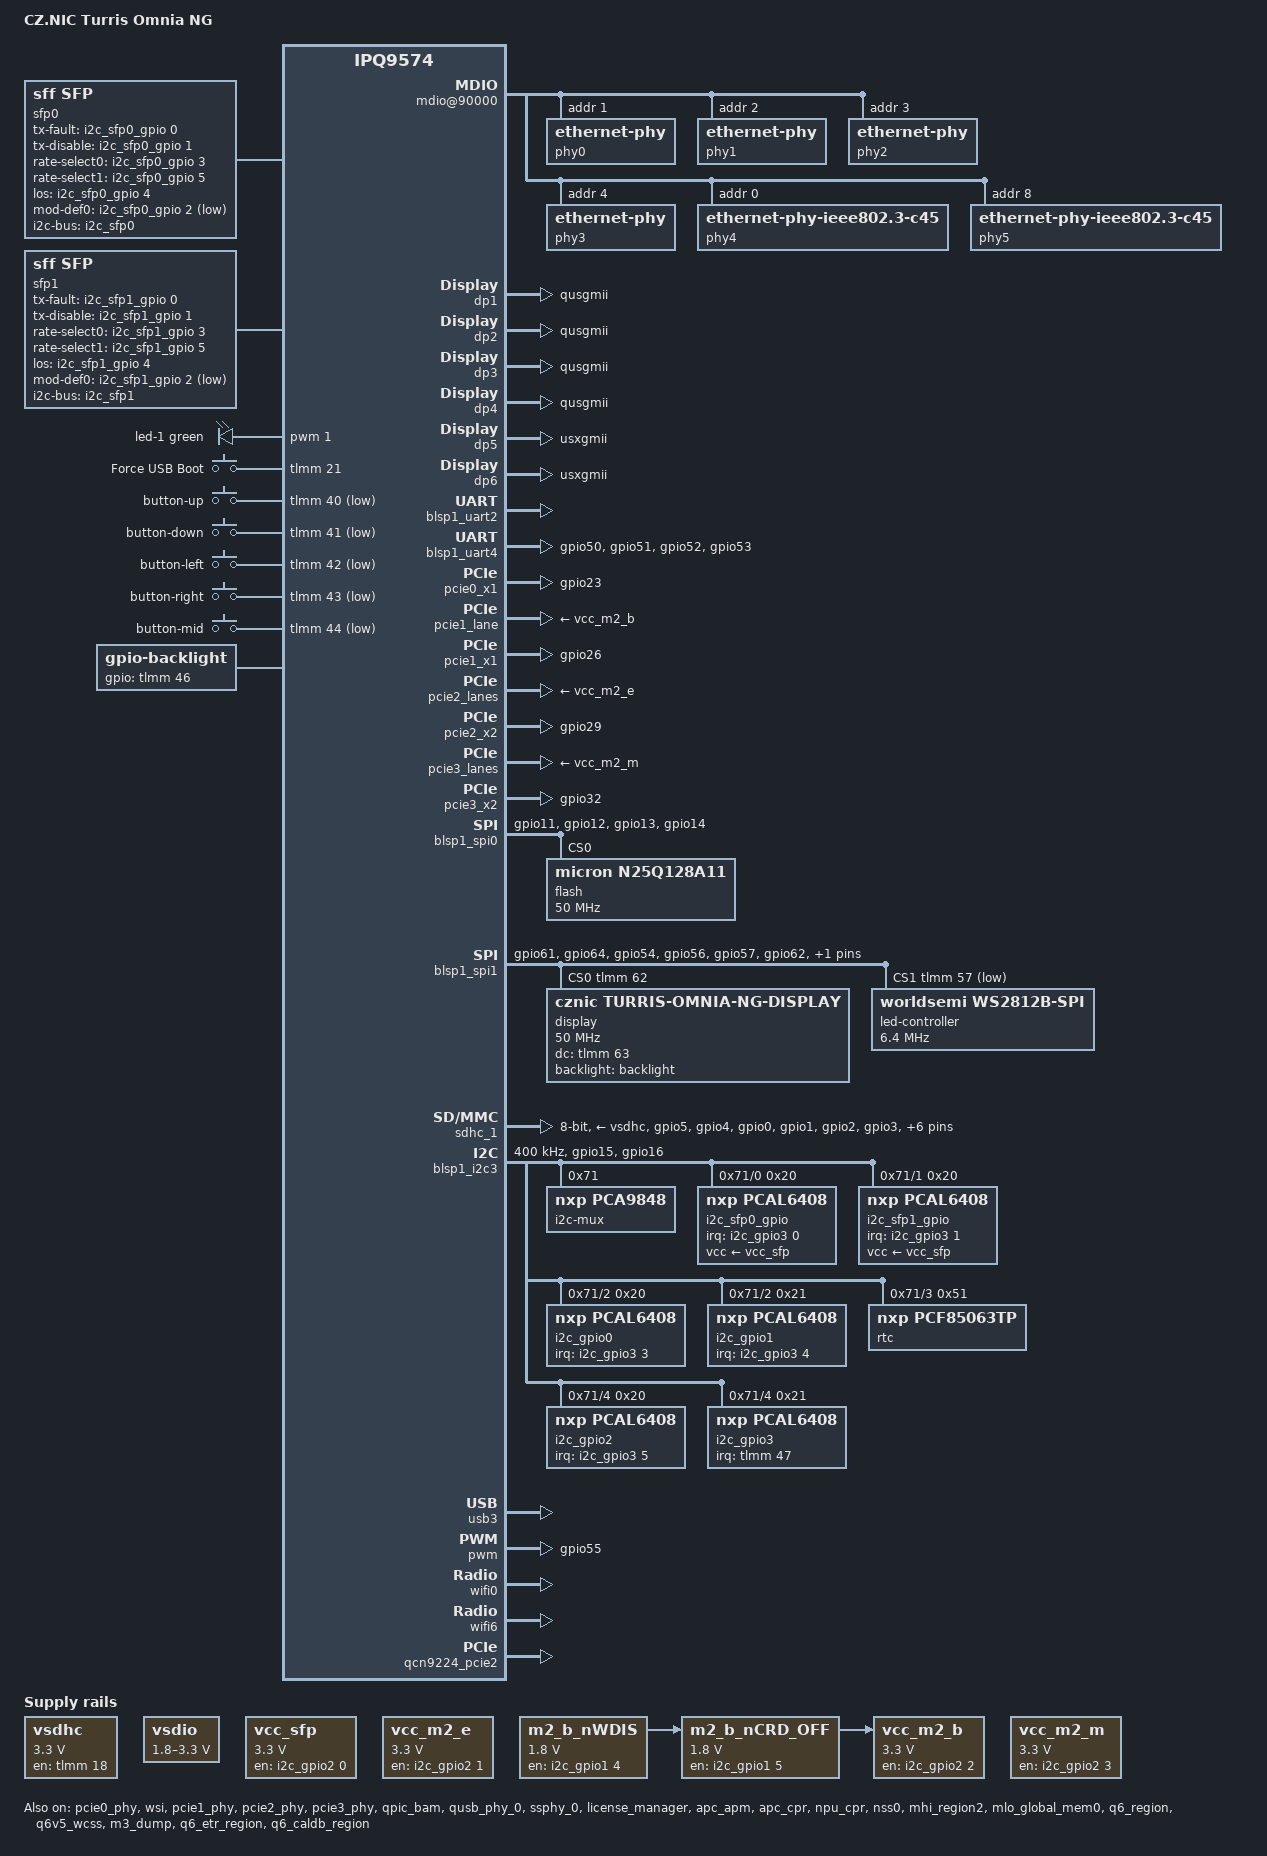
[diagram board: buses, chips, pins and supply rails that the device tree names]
// SPDX-License-Identifier: (GPL-2.0+ OR BSD-3-Clause)
/*
 * CZ.NIC Turris Omnig NG board device tree source
 *
 * Copyright (c) 2020-2021 The Linux Foundation. All rights reserved.
 * Copyright (c) 2021-2024 Qualcomm Innovation Center, Inc. All rights reserved.
 */

/dts-v1/;

#include <dt-bindings/gpio/gpio.h>
#include <dt-bindings/input/input.h>
#include <dt-bindings/leds/common.h>
#include "ipq9574.dtsi"
#include "ipq9574-qcn9224-default-memory.dtsi"

#define BROKEN_RPM 0
#define BROKEN_QCA8085 0
#define BROKEN_SFP 0
#define __MHI_BUS_RESERVED_DMA_POOL__

/ {
	model = "CZ.NIC Turris Omnia NG";
	compatible = "cznic,ipq9574-turris-omnia-ng", "qcom,ipq9574";

	aliases {
		serial0 = &blsp1_uart2;
		serial1 = &blsp1_uart4;
		serial2 = &blsp1_uart3;
#if !BROKEN_QCA8085
		ethernet0 = "/soc/dp1";
		ethernet1 = "/soc/dp2";
		ethernet2 = "/soc/dp3";
		ethernet3 = "/soc/dp4";
#endif
#if !BROKEN_SFP
		ethernet4 = "/soc/dp5";
		ethernet5 = "/soc/dp6";
#endif
	};

	chosen {
		stdout-path = "serial0:115200n8";
	};

	vsdhc: vsdhc-regulator {
		compatible = "regulator-fixed";
		regulator-name = "vsdhc";
		regulator-min-microvolt = <3300000>;
		regulator-max-microvolt = <3300000>;
		gpio = <&tlmm 18 GPIO_ACTIVE_HIGH>;
		enable-active-high;
	};

	vsdio: vsdc-regulator {
		compatible = "regulator-gpio";
		regulator-name = "vsdio";
		regulator-min-microvolt = <1800000>;
		regulator-max-microvolt = <3300000>;
		regulator-boot-on;

		gpios = <&tlmm 19 GPIO_ACTIVE_HIGH>;
		gpios-states = <0>;
		states = <1800000 0x1>, <3300000 0x0>;
		enable-active-high;
	};

	vcc_sfp: regulator-3v3-sfp {
		compatible = "regulator-fixed";
		regulator-name = "3V3-sfp-supply";
		regulator-min-microvolt = <3300000>;
		regulator-max-microvolt = <3300000>;
		gpios = <&i2c_gpio2 0 GPIO_ACTIVE_HIGH>;
		enable-active-high;
		startup-delay-us = <50000>;
	};

	vcc_m2_e: regulator-3v3-m2-e {
		compatible = "regulator-fixed";
		regulator-name = "3V3-m2-e-supply";
		regulator-min-microvolt = <3300000>;
		regulator-max-microvolt = <3300000>;
		gpios = <&i2c_gpio2 1 GPIO_ACTIVE_HIGH>;
		enable-active-high;
		regulator-always-on;
		startup-delay-us = <50000>;
	};

		m2_b_nWDIS: fake-regulator-m2-b-nWDIS {
		        compatible = "regulator-fixed";
		        regulator-name = "fake-regulator-m2-b-nWDIS";
		        regulator-min-microvolt = <1800000>;
		        regulator-max-microvolt = <1800000>;
		        gpios = <&i2c_gpio1 4 GPIO_ACTIVE_HIGH>;
		        enable-active-high;
		        regulator-always-on;
		        startup-delay-us = <50000>;
		};

		m2_b_nCRD_OFF: fake-regulator-m2-b-nCRD-OFF {
		        compatible = "regulator-fixed";
		        regulator-name = "fake-regulator-m2-b-nCRD-OFF";
		        regulator-min-microvolt = <1800000>;
		        regulator-max-microvolt = <1800000>;
		        gpios = <&i2c_gpio1 5 GPIO_ACTIVE_HIGH>;
		        enable-active-high;
		        regulator-always-on;
		        startup-delay-us = <50000>;

		        /* hack for M2-B config pins */
		        vin-supply = <&m2_b_nWDIS>;
		};

	vcc_m2_b: regulator-3v3-m2-b {
		compatible = "regulator-fixed";
		regulator-name = "3V3-m2-b-supply";
		regulator-min-microvolt = <3300000>;
		regulator-max-microvolt = <3300000>;
		gpios = <&i2c_gpio2 2 GPIO_ACTIVE_HIGH>;
		enable-active-high;
		regulator-always-on;
		startup-delay-us = <50000>;

		/* hack for M2-B config pins */
		vin-supply = <&m2_b_nCRD_OFF>;
	};

	vcc_m2_m: regulator-3v3-m2-m {
		compatible = "regulator-fixed";
		regulator-name = "3V3-m2-m-supply";
		regulator-min-microvolt = <3300000>;
		regulator-max-microvolt = <3300000>;
		gpios = <&i2c_gpio2 3 GPIO_ACTIVE_HIGH>;
		enable-active-high;
		regulator-always-on;
		startup-delay-us = <50000>;
	};

#if !BROKEN_SFP
	sfp0: sfp0 {
		compatible = "sff,sfp";
		i2c-bus = <&i2c_sfp0>;
		tx-fault-gpios = <&i2c_sfp0_gpio 0 GPIO_ACTIVE_HIGH>;
		tx-disable-gpios = <&i2c_sfp0_gpio 1 GPIO_ACTIVE_HIGH>;
		rate-select0-gpios = <&i2c_sfp0_gpio 3 GPIO_ACTIVE_HIGH>;
		rate-select1-gpios = <&i2c_sfp0_gpio 5 GPIO_ACTIVE_HIGH>;
		los-gpios = <&i2c_sfp0_gpio 4 GPIO_ACTIVE_HIGH>;
		mod-def0-gpios = <&i2c_sfp0_gpio 2 GPIO_ACTIVE_LOW>;
		maximum-power-milliwatt = <3000>;
		status = "okay";
	};

	sfp1: sfp1 {
		compatible = "sff,sfp";
		i2c-bus = <&i2c_sfp1>;
		tx-fault-gpios = <&i2c_sfp1_gpio 0 GPIO_ACTIVE_HIGH>;
		tx-disable-gpios = <&i2c_sfp1_gpio 1 GPIO_ACTIVE_HIGH>;
		rate-select0-gpios = <&i2c_sfp1_gpio 3 GPIO_ACTIVE_HIGH>;
		rate-select1-gpios = <&i2c_sfp1_gpio 5 GPIO_ACTIVE_HIGH>;
		los-gpios = <&i2c_sfp1_gpio 4 GPIO_ACTIVE_HIGH>;
		mod-def0-gpios = <&i2c_sfp1_gpio 2 GPIO_ACTIVE_LOW>;
		maximum-power-milliwatt = <3000>;
		status = "okay";
	};
#endif

	soc@0 {
		mdio@90000 {
			pinctrl-0 = <&mdio_pins>;
			pinctrl-names = "default";
#if !BROKEN_QCA8085
			/* gpio60 for manhattan reset */
			phy-reset-gpio = <&tlmm 60 GPIO_ACTIVE_LOW>;
			phyaddr_fixup = <0xC90F018>;
			uniphyaddr_fixup = <0xC90F014>;
			mdio_clk_fixup; /* MDIO clock sequence fix up flag */
#endif
			status = "okay";

#if !BROKEN_QCA8085
			phy0: ethernet-phy@0 {
				reg = <1>;
				fixup;
			};
			phy1: ethernet-phy@1 {
				reg = <2>;
				fixup;
			};
			phy2: ethernet-phy@2 {
				reg = <3>;
				fixup;
			};
			phy3: ethernet-phy@3 {
				reg = <4>;
				fixup;
			};
#endif
#if !BROKEN_SFP
			phy4: ethernet-phy@4 {
				compatible ="ethernet-phy-ieee802.3-c45";
				reg = <0>;
			};
			phy5: ethernet-phy@5 {
				compatible ="ethernet-phy-ieee802.3-c45";
				reg = <8>;
			};
#endif
		};

		ess-instance {
			num_devices = <0x1>;
			ess-switch@3a000000 {
				switch_cpu_bmp = <0x1>;  /* cpu port bitmap */
#if !BROKEN_SFP && !BROKEN_QCA8085
				switch_lan_bmp = <0x3e>; /* lan port bitmap */
				switch_wan_bmp = <0x40>; /* wan port bitmap */
#elif !BROKEN_QCA8085
				switch_lan_bmp = <0x1c>; /* lan port bitmap */
				switch_wan_bmp = <0x02>; /* wan port bitmap */
#else
				switch_lan_bmp = <0x20>; /* lan port bitmap */
				switch_wan_bmp = <0x40>; /* wan port bitmap */
#endif
				switch_mac_mode = <0x15>; /* mac mode for uniphy instance0*/
				switch_mac_mode1 = <0xe>; /* mac mode for uniphy instance1*/
				switch_mac_mode2 = <0xe>; /* mac mode for uniphy instance2*/

				qcom,port_phyinfo {
#if !BROKEN_QCA8085
					port@0 {
						port_id = <1>;
						phy_address = <1>;
					};
					port@1 {
						port_id = <2>;
						phy_address = <2>;
					};
					port@2 {
						port_id = <3>;
						phy_address = <3>;
					};
					port@3 {
						port_id = <4>;
						phy_address = <4>;
					};
#endif
#if !BROKEN_SFP
					port@4 {
						port_id = <5>;
						media-type = "sfp";
						phy_address = <30>;
						sfp = <&sfp0>;
					};
					port@5 {
						port_id = <6>;
						media-type = "sfp";
						phy_address = <31>;
						sfp = <&sfp1>;
					};
#endif
				};

#if !BROKEN_QCA8085
				led_source@0 {
					source = <0>;
					mode = "normal";
					speed = "all";
					blink_en = "enable";
					active = "high";
				};
				led_source@1 {
					source = <1>;
					mode = "normal";
					speed = "1000M";
					blink_en = "disable";
					active = "high";
				};
				led_source@3 {
					source = <3>;
					mode = "normal";
					speed = "all";
					blink_en = "enable";
					active = "high";
				};
				led_source@4 {
					source = <4>;
					mode = "normal";
					speed = "1000M";
					blink_en = "disable";
					active = "high";
				};
				led_source@6 {
					source = <6>;
					mode = "normal";
					speed = "all";
					blink_en = "enable";
					active = "high";
				};
				led_source@7 {
					source = <7>;
					mode = "normal";
					speed = "1000M";
					blink_en = "disable";
					active = "high";
				};
				led_source@9 {
					source = <9>;
					mode = "normal";
					speed = "all";
					blink_en = "enable";
					active = "high";
				};
				led_source@a {
					source = <0xa>;
					mode = "normal";
					speed = "1000M";
					blink_en = "disable";
					active = "high";
				};
#endif
			};
		};

		leds {
			compatible = "pwm-leds";
			status = "okay";

			led-1 {
				color = <LED_COLOR_ID_GREEN>;
				function = LED_FUNCTION_INDICATOR;
				pwms = <&pwm 1 655361>;
				linux,default-trigger = "heartbeat";
				max-brightness = <8191>;
				default-state = "off";
			};
		};

		gpio-key-lights-toggle {
			compatible = "openwrt,gpio-button-hotplug", "gpio-keys";
			pinctrl-0 = <&force_usb_button_pins>;
			pinctrl-names = "default";
			status = "okay";
			button {
				label = "Force USB Boot";
				/* 
				 * Default behaviour in vendor OS is to control
				 * LED dimming, so use OpenWrt lights_toggle code
				 * https://openwrt.org/docs/guide-user/hardware/hardware.button
				 */
				linux,code = <0x021e>;
				gpios = <&tlmm 21 GPIO_ACTIVE_HIGH>;
			};
		};

		gpio-keys {
			compatible = "gpio-keys";
			pinctrl-0 = <&dpad_pins>;
			pinctrl-names = "default";
			status = "okay";

			button-up {
				linux,code = <KEY_UP>;
				gpios = <&tlmm 40 GPIO_ACTIVE_LOW>;
			};

			button-down {
				linux,code = <KEY_DOWN>;
				gpios = <&tlmm 41 GPIO_ACTIVE_LOW>;
			};

			button-left {
				linux,code = <KEY_LEFT>;
				gpios = <&tlmm 42 GPIO_ACTIVE_LOW>;
			};

			button-right {
				linux,code = <KEY_RIGHT>;
				gpios = <&tlmm 43 GPIO_ACTIVE_LOW>;
			};

			button-mid {
				linux,code = <KEY_ENTER>;
				gpios = <&tlmm 44 GPIO_ACTIVE_LOW>;
			};
		};

		backlight: backlight {
			compatible = "gpio-backlight";
			pinctrl-0 = <&backlight_pins>;
			pinctrl-names = "default";
			gpios = <&tlmm 46 GPIO_ACTIVE_HIGH>;
		};

#if !BROKEN_QCA8085
		dp1 {
			device_type = "network";
			compatible = "qcom,nss-dp";
			qcom,id = <1>;
			reg = <0x3a500000 0x4000>;
			qcom,mactype = <1>;
			qcom,link-poll = <1>;
			local-mac-address = [000000000000];
			qcom,phy-mdio-addr = <1>;
			phy-mode = "qusgmii";
			qcom,ppe-offload-disabled = <1>;
		};

		dp2 {
			device_type = "network";
			compatible = "qcom,nss-dp";
			qcom,id = <2>;
			reg = <0x3a504000 0x4000>;
			qcom,mactype = <1>;
			qcom,link-poll = <1>;
			local-mac-address = [000000000000];
			qcom,phy-mdio-addr = <2>;
			phy-mode = "qusgmii";
			qcom,ppe-offload-disabled = <1>;
		};

		dp3 {
			device_type = "network";
			compatible = "qcom,nss-dp";
			qcom,id = <3>;
			reg = <0x3a508000 0x4000>;
			qcom,mactype = <1>;
			qcom,link-poll = <1>;
			local-mac-address = [000000000000];
			qcom,phy-mdio-addr = <3>;
			phy-mode = "qusgmii";
			qcom,ppe-offload-disabled = <1>;
		};

		dp4 {
			device_type = "network";
			compatible = "qcom,nss-dp";
			qcom,id = <4>;
			reg = <0x3a50c000 0x4000>;
			qcom,mactype = <1>;
			qcom,link-poll = <1>;
			local-mac-address = [000000000000];
			qcom,phy-mdio-addr = <4>;
			phy-mode = "qusgmii";
			qcom,ppe-offload-disabled = <1>;
		};
#endif
#if !BROKEN_SFP
		dp5 {
			device_type = "network";
			compatible = "qcom,nss-dp";
			qcom,id = <5>;
			reg = <0x3a510000 0x4000>;
			qcom,mactype = <1>;
			qcom,link-poll = <1>;
			local-mac-address = [000000000000];
			qcom,phy-mdio-addr = <30>;
			phy-mode = "usxgmii";
		};

		dp6 {
			device_type = "network";
			compatible = "qcom,nss-dp";
			qcom,id = <6>;
			reg = <0x3a514000 0x4000>;
			qcom,mactype = <1>;
			qcom,link-poll = <1>;
			local-mac-address = [000000000000];
			qcom,phy-mdio-addr = <31>;
			phy-mode = "usxgmii";
		};
#endif

		/* EDMA host driver configuration for the board */
		edma@3ab00000 {
			qcom,txdesc-ring-start = <4>;		/* Tx desc ring start ID */
			qcom,txdesc-rings = <28>;		/* Total number of Tx desc rings to be provisioned */
			qcom,txcmpl-ring-start = <4>;		/* Tx complete ring start ID */
			qcom,txcmpl-rings = <28>;		/* Total number of Tx complete rings to be provisioned */
			qcom,rxfill-ring-start = <4>;		/* Rx fill ring start ID */
			qcom,rxfill-rings = <4>;		/* Total number of Rx fill rings to be provisioned */
			qcom,rxdesc-ring-start = <20>;		/* Rx desc ring start ID */
			qcom,rxdesc-rings = <4>;		/* Total number of Rx desc rings to be provisioned */
			qcom,rx-page-mode = <0>;		/* Rx fill ring page mode */
			qcom,tx-map-priority-level = <1>;	/* Tx priority level per port */
			qcom,rx-map-priority-level = <1>;	/* Rx priority level per core */
			qcom,num_loopback_rings = <1>;
			qcom,txdesc_loopback_ring_id = <0>;
			qcom,txcmpl_loopback_ring_id = <0>;
			qcom,rxfill_loopback_ring_id = <0>;
			qcom,rxdesc_loopback_ring_id = <0>;
			qcom,loopback_queue_base = <56>;
			qcom,loopback_num_queues = <8>;
			qcom,ppeds-num = <3>;			/* Number of PPEDS nodes */
			/* PPE-DS node format: <Rx-fill Tx-cmpl Rx Tx Queue-base Queue-count> */
			qcom,ppeds-map = <1 1 1 1 32 8>,	/* PPEDS Node#0 ring and queue map */
					<2 2 2 2 40 8>,		/* PPEDS Node#1 ring and queue map */
					<3 3 3 3 48 8>;		/* PPEDS Node#2 ring and queue map */
			qcom,txdesc-map = <8 9 10 11>,		/* Port0 per-core Tx ring map */
					<12 13 14 15>,		/* Port1 per-core Tx ring map */
					<16 17 18 19>,		/* Port2 per-core Tx ring map */
					<20 21 22 23>,		/* Port3 per-core Tx ring map */
					<24 25 26 27>,		/* Port4 per-core Tx ring map */
					<28 29 30 31>,		/* Port5 per-core Tx ring map */
					<4 5 6 7>;		/* Used only for packets from VP */
			qcom,txdesc-fc-grp-map = <1 2 3 4 5 6>;	/* Per GMAC flow control group map */
			qcom,rxfill-map = <4 5 6 7>;		/* Per-core Rx fill ring map */
			qcom,rxdesc-map = <20 21 22 23>;	/* Per-core Rx desc ring map */
			qcom,rx-queue-start = <0>;		/* Rx queue start */
			qcom,rx-ring-queue-map = <0 8 16 24>,	/* Priority 0 queues per-core Rx ring map */
					<1 9 17 25>,		/* Priority 1 queues per-core Rx ring map */
					<2 10 18 26>,		/* Priority 2 queues per-core Rx ring map */
					<3 11 19 27>,		/* Priority 3 queues per-core Rx ring map */
					<4 12 20 28>,		/* Priority 4 queues per-core Rx ring map */
					<5 13 21 29>,		/* Priority 5 queues per-core Rx ring map */
					<6 14 22 30>,		/* Priority 6 queues per-core Rx ring map */
					<7 15 23 31>;		/* Priority 7 queues per-core Rx ring map */
			qcom,vp-id = <8>;			/* Virtual port dummy MAC Id */
			qcom,txdesc_point_offload_ring = <0>;		/* Txdesc point offlaod ring */
			qcom,txcmpl_point_offload_ring = <0>;		/* Txcmpl point offlaod ring */
			qcom,rxfill_point_offload_ring = <0>;		/* Rxfill point offlaod ring */
			qcom,rxdesc_point_offload_ring = <0>;		/* Rxdesc point offlaod ring */
			interrupts = <0 367 4>,			/* Tx complete ring id #4 IRQ info */
				   <0 368 4>,			/* Tx complete ring id #5 IRQ info */
				   <0 369 4>,			/* Tx complete ring id #6 IRQ info */
				   <0 370 4>,			/* Tx complete ring id #7 IRQ info */
				   <0 371 4>,			/* Tx complete ring id #8 IRQ info */
				   <0 372 4>,			/* Tx complete ring id #9 IRQ info */
				   <0 373 4>,			/* Tx complete ring id #10 IRQ info */
				   <0 374 4>,			/* Tx complete ring id #11 IRQ info */
				   <0 375 4>,			/* Tx complete ring id #12 IRQ info */
				   <0 376 4>,			/* Tx complete ring id #13 IRQ info */
				   <0 377 4>,			/* Tx complete ring id #14 IRQ info */
				   <0 378 4>,			/* Tx complete ring id #15 IRQ info */
				   <0 379 4>,			/* Tx complete ring id #16 IRQ info */
				   <0 380 4>,			/* Tx complete ring id #17 IRQ info */
				   <0 381 4>,			/* Tx complete ring id #18 IRQ info */
				   <0 382 4>,			/* Tx complete ring id #19 IRQ info */
				   <0 383 4>,			/* Tx complete ring id #20 IRQ info */
				   <0 384 4>,			/* Tx complete ring id #21 IRQ info */
				   <0 509 4>,			/* Tx complete ring id #22 IRQ info */
				   <0 508 4>,			/* Tx complete ring id #23 IRQ info */
				   <0 507 4>,			/* Tx complete ring id #24 IRQ info */
				   <0 506 4>,			/* Tx complete ring id #25 IRQ info */
				   <0 505 4>,			/* Tx complete ring id #26 IRQ info */
				   <0 504 4>,			/* Tx complete ring id #27 IRQ info */
				   <0 503 4>,			/* Tx complete ring id #28 IRQ info */
				   <0 502 4>,			/* Tx complete ring id #29 IRQ info */
				   <0 501 4>,			/* Tx complete ring id #30 IRQ info */
				   <0 500 4>,			/* Tx complete ring id #31 IRQ info */
				   <0 351 4>,			/* Rx desc ring id #20 IRQ info */
				   <0 352 4>,			/* Rx desc ring id #21 IRQ info */
				   <0 353 4>,			/* Rx desc ring id #22 IRQ info */
				   <0 354 4>,			/* Rx desc ring id #23 IRQ info */
				   <0 499 4>,			/* Misc error IRQ info */
				   <0 359 4>,			/* RxFill ring id #4 IRQ info */
				   <0 360 4>,			/* RxFill ring id #5 IRQ info */
				   <0 361 4>,			/* RxFill ring id #6 IRQ info */
				   <0 362 4>,			/* RxFill ring id #7 IRQ info */
				   <0 364 4>,			/* PPEDS Node #1(TxComp ring id #1) TxComplete IRQ info */
				   <0 332 4>,			/* PPEDS Node #1(Rx Desc ring id #1) Rx Desc IRQ info */
				   <0 356 4>,			/* PPEDS Node #1(RxFill Desc ring id #1) Rx Fill IRQ info */
				   <0 365 4>,			/* PPEDS Node #2(TxComp ring id #2) TxComplete IRQ info */
				   <0 333 4>,			/* PPEDS Node #2(Rx Desc ring id #2) Rx Desc IRQ info */
				   <0 357 4>,			/* PPEDS Node #2(RxFill Desc ring id #2) Rx Fill IRQ info */
				   <0 366 4>,			/* PPEDS Node #3(TxComp ring id #3) TxComplete IRQ info */
				   <0 334 4>,			/* PPEDS Node #3(Rx Desc ring id #3) Rx Desc IRQ info */
				   <0 358 4>;			/* PPEDS Node #3(RxFill Desc ring id #3) Rx Fill IRQ info */

		};

#if BROKEN_RPM
		/* dat prec ked bude fungovat MP5496 cez RPM */
		dummy_reg_cpu: dummy-regulator@1 {
			compatible = "regulator-fixed";
			regulator-name = "dummy-reg-cpu";
			regulator-min-microvolt = <1075000>;
			regulator-max-microvolt = <1075000>;
			regulator-always-on;
			regulator-boot-on;
		};
#endif
	};

#if BROKEN_RPM
	/* dat prec ked bude fungovat MP5496 cez RPM */
	rpm-glink {
		status = "disabled";
	};
#endif
};

&blsp1_uart2 {
	pinctrl-0 = <&uart2_pins>;
	pinctrl-names = "default";
	status = "okay";
};

&blsp1_uart4 {
	pinctrl-0 = <&uart4_pins>;
	pinctrl-names = "default";
	status = "okay";
};

&pcie0_phy {
	status = "okay";
};

&pcie0_x1 {
	pinctrl-0 = <&pci0_pin>;
	pinctrl-names = "default";
	perst-gpios = <&tlmm 23 GPIO_ACTIVE_LOW>;
	status = "okay";

	pcie0_rp: pcie0_rp {
		reg = <0 0 0 0 0>;
	};
};

/* Turris Omnia NG FIXME: is this needed? */
&wsi {
	id = <0>;
	num_chip = <1>;
	status = "okay";
	chip_info = <0 0>;
};

&pcie1_phy {
	status = "okay";
};

&pcie1_lane {
	/*
	 * Turris Omnia NG FIXME:
	 * This supply actually supplies the 3V3 power into the card in the M2-B
	 * connector, not the PCIe PHY. But there is no device-tree binding for
	 * the connector yet, and we need to make sure that the supply is
	 * enabled before the PCIe driver tries to establish a link with the
	 * card. Declaring the supply needed for the PHY does this without the
	 * need to change driver code.
	 */
	phy-supply = <&vcc_m2_b>;
};

&pcie1_x1 {
	pinctrl-0 = <&pci1_pin>;
	pinctrl-names = "default";
	perst-gpios = <&tlmm 26 GPIO_ACTIVE_LOW>;
	status = "okay";
	pcie1_rp: pcie1_rp {
		reg = <0 0 0 0 0>;
	};
};

&pcie2_phy {
	status = "okay";
};

&pcie2_lanes {
	/*
	 * Turris Omnia NG FIXME:
	 * This supply actually supplies the 3V3 power into the card in the M2-E
	 * connector, not the PCIe PHY. But there is no device-tree binding for
	 * the connector yet, and we need to make sure that the supply is
	 * enabled before the PCIe driver tries to establish a link with the
	 * card. Declaring the supply needed for the PHY does this without the
	 * need to change driver code.
	 */ 
	phy-supply = <&vcc_m2_e>;
};

&pcie2_x2 {
	pinctrl-0 = <&pci2_pin>;
	pinctrl-names = "default";
	perst-gpios = <&tlmm 29 GPIO_ACTIVE_LOW>;
	status = "okay";
	pcie2_rp: pcie2_rp {
		reg = <0 0 0 0 0>;

		wifi@2 {
			reg = <0 0 0 0 0>;
			boot-args = <0x2 0x4 0x34 0x3 0x0 0x0     /* MX Rail, GPIO52, Drive strength 0x3 */
					0x4 0x4 0x18 0x3 0x0 0x0  /* RFA1p2 Rail, GPIO24, Drive strength 0x3 */
					0x0 0x4 0x0 0x0 0x0 0x0>; /* End of arguments */
			memory-region = <&qcn9224_pcie2>, <&mhi_region2>, <&mlo_global_mem0>;
			memory-region-names = "host-ddr-mem", "mhi-region", "mlo-global-mem";
			qcom,early_cal_enabled = "supported";
			qcom,caldata_offset = <0x8A800>;
			qcom,board_id = <0x1006>;
			qcom,wsi = <&wsi>;
			qcom,wsi_index = <0>;
			turris,try-hacky-board-id;
			ports {
				#address-cells = <1>;
				#size-cells = <0>;
				port@0 {
					reg = <0>;
				};
				port@1 {
					reg = <1>;
				};
			};
		};
	};
};

&pcie3_phy {
	status = "okay";
};

&pcie3_lanes {
	/*
	 * Turris Omnia NG FIXME:
	 * This supply actually supplies the 3V3 power into the card in the M2-M
	 * connector, not the PCIe PHY. But there is no device-tree binding for
	 * the connector yet, and we need to make sure that the supply is
	 * enabled before the PCIe driver tries to establish a link with the
	 * card. Declaring the supply needed for the PHY does this without the
	 * need to change driver code.
	 */
	phy-supply = <&vcc_m2_m>;
};

&pcie3_x2 {
	pinctrl-0 = <&pci3_pin>;
	pinctrl-names = "default";
	perst-gpios = <&tlmm 32 GPIO_ACTIVE_LOW>;
	status = "okay";
	pcie3_rp: pcie3_rp {
		reg = <0 0 0 0 0>;
	};
};

&qpic_bam {
	status = "okay";
};

&qusb_phy_0 {
	status = "okay";
};

&blsp1_spi0 {
	pinctrl-0 = <&spi_0_pins>;
	pinctrl-names = "default";
	status = "okay";

	flash@0 {
		compatible = "micron,n25q128a11", "jedec,spi-nor";
		reg = <0>;
		#address-cells = <1>;
		#size-cells = <1>;
		spi-max-frequency = <50000000>;
	};
};

&blsp1_spi1 {
	pinctrl-0 = <&spi_1_lcd_pins>;
	pinctrl-names = "default";
	cs-gpios = <&tlmm 62 GPIO_ACTIVE_HIGH>, <&tlmm 57 GPIO_ACTIVE_LOW>;
	num-cs = <2>;
	status = "okay";

	display@0 {
		compatible = "cznic,turris-omnia-ng-display", "panel-mipi-dbi-spi";
		reg = <0>;
		spi-max-frequency = <50000000>;
		dc-gpios = <&tlmm 63 GPIO_ACTIVE_HIGH>;
		write-only;
		spi-cpha;
		spi-cpol;
		format = "r5g6b5";
		backlight = <&backlight>;
		width-mm = <28>;
		height-mm = <28>;
		rotation = <270>;

		panel-timing {
			hactive = <240>;
			vactive = <240>;
			hback-porch = <80>;
			vback-porch = <0>;
			clock-frequency = <0>;
			hfront-porch = <0>;
			hsync-len = <0>;
			vfront-porch = <0>;
			vsync-len = <0>;
		};
	};

	led-controller@1 {
		compatible = "worldsemi,ws2812b-spi";
		reg = <1>;
		num-leds = <4>;
		spi-max-frequency = <6400000>;
		write-only;
		spi-cpha;
		spi-cs-high;
		#address-cells = <1>;
		#size-cells = <0>;

		multi-led@0 {
			reg = <0>;
			color = <LED_COLOR_ID_RGB>;
			function = LED_FUNCTION_INDICATOR;
		};

		multi-led@1 {
			reg = <1>;
			color = <LED_COLOR_ID_RGB>;
			function = LED_FUNCTION_WLAN;
		};

		multi-led@2 {
			reg = <2>;
			color = <LED_COLOR_ID_RGB>;
			function = LED_FUNCTION_WAN;
		};

		multi-led@3 {
			reg = <3>;
			color = <LED_COLOR_ID_RGB>;
			function = LED_FUNCTION_POWER;
		};
	};
};

&sdhc_1 {
	pinctrl-0 = <&sdc_default_state>;
	pinctrl-names = "default";
	mmc-ddr-1_8v;
	mmc-hs200-1_8v;
	mmc-hs400-1_8v;
	mmc-hs400-enhanced-strobe;
	max-frequency = <384000000>;
	bus-width = <8>;
	vmmc-supply = <&vsdhc>;
	vqmmc-supply = <&vsdio>;
	cd-gpios = <&i2c_gpio1 7 GPIO_ACTIVE_LOW>;
	status = "okay";
};

&blsp1_i2c3 {
	clock-frequency = <400000>;
	pinctrl-0 = <&i2c_3_pins>;
	pinctrl-names = "default";
	status = "okay";
 
	i2c-mux@71 {
		compatible = "nxp,pca9848";
		#address-cells = <1>;
		#size-cells = <0>;
		reg = <0x71>;
 
		i2c_sfp0: i2c@0 {
			#address-cells = <1>;
			#size-cells = <0>;
			reg = <0x0>;
 
			i2c_sfp0_gpio: gpio-controller@20 {
				compatible = "nxp,pcal6408";
				reg = <0x20>;
				vcc-supply = <&vcc_sfp>;
				gpio-controller;
				#gpio-cells = <2>;
				gpio-line-names = "SFP0_FLT", "SFP0_DIS", "SFP0_DET", "SFP0_RS0", "SFP0_LOS", "SFP0_RS1";
				interrupts-extended = <&i2c_gpio3 0 IRQ_TYPE_EDGE_FALLING>;
				interrupt-controller;
				#interrupt-cells = <2>;
			};
		};
 
		i2c_sfp1: i2c@1 {
			#address-cells = <1>;
			#size-cells = <0>;
			reg = <0x1>;
 
			i2c_sfp1_gpio: gpio-controller@20 {
				compatible = "nxp,pcal6408";
				reg = <0x20>;
				vcc-supply = <&vcc_sfp>;
				gpio-controller;
				#gpio-cells = <2>;
				gpio-line-names = "SFP1_FLT", "SFP1_DIS", "SFP1_DET", "SFP1_RS0", "SFP1_LOS", "SFP1_RS1";
				interrupts-extended = <&i2c_gpio3 1 IRQ_TYPE_EDGE_FALLING>;
				interrupt-controller;
				#interrupt-cells = <2>;
			};
		};
 
		i2c@2 {
			#address-cells = <1>;
			#size-cells = <0>;
			reg = <0x2>;
 
			i2c_gpio0: gpio-controller@20 {
				compatible = "nxp,pcal6408";
				reg = <0x20>;
				gpio-controller;
				#gpio-cells = <2>;
				gpio-line-names = "M2M_CFG0", "M2M_CFG1", "M2M_CFG2", "M2M_CFG3", "M2E_nCARD_DET", "M2E_nWDIS1", "M2E_nWDIS2", "IO07";
				interrupts-extended = <&i2c_gpio3 3 IRQ_TYPE_EDGE_FALLING>;
				interrupt-controller;
				#interrupt-cells = <2>;
			};
 
			i2c_gpio1: gpio-controller@21 {
				compatible = "nxp,pcal6408";
				reg = <0x21>;
				gpio-controller;
				#gpio-cells = <2>;
				gpio-line-names = "M2B_CFG0", "M2B_CFG1", "M2B_CFG2", "M2B_CFG3", "M2B_nWDIS", "M2B_nCRD_OFF", "M2B_RST", "SDC_DET";
				interrupts-extended = <&i2c_gpio3 4 IRQ_TYPE_EDGE_FALLING>;
				interrupt-controller;
				#interrupt-cells = <2>;
			};
		};
 
		i2c@3 {
			#address-cells = <1>;
			#size-cells = <0>;
			reg = <0x3>;
 
			crypto@59 {
				compatible = "atmel,atecc608b";
				reg = <0x59>;
				status = "disabled";
			};
 
			rtc@51 {
				compatible = "nxp,pcf85063tp";
				reg = <0x51>;
				quartz-load-femtofarads = <12500>;
			};
		};

		i2c@4 {
			#address-cells = <1>;
			#size-cells = <0>;
			reg = <0x4>;
 
			i2c_gpio2: gpio-controller@20 {
				compatible = "nxp,pcal6408";
				reg = <0x20>;
				gpio-controller;
				#gpio-cells = <2>;
				gpio-line-names = "EN_PWR_SFP", "EN_PWR_M2-E", "EN_PWR_M2-B", "EN_PWR_M2-M", "PG_SFP", "PG_M2-E", "PG_M2-B", "PG_M2-M";
				interrupts-extended = <&i2c_gpio3 5 IRQ_TYPE_EDGE_FALLING>;
				interrupt-controller;
				#interrupt-cells = <2>;
			};

			i2c_gpio3: gpio-controller@21 {
				compatible = "nxp,pcal6408";
				reg = <0x21>;
				gpio-controller;
				#gpio-cells = <2>;
				gpio-line-names = "SFP0_nINT", "SFP1_nINT", "USBB_nINT", "GPIO0_nINT", "GPIO1_nINT", "GPIO2_nINT", "VBUS30_nOC", "IO37";
				interrupts-extended = <&tlmm 47 IRQ_TYPE_EDGE_FALLING>;
				interrupt-controller;
				#interrupt-cells = <2>;
			};
		};
	};
};

&sleep_clk {
	clock-frequency = <32000>;
};

&ssphy_0 {
	status = "okay";
};

#if !BROKEN_RPM
&rpm_requests {
	regulators {
		compatible = "qcom,rpm-mp5496-regulators";

		ipq9574_s1: s1 {
		/*
		 * During kernel bootup, the SoC runs at 800MHz with 875mV set by the bootloaders.
		 * During regulator registration, kernel not knowing the initial voltage,
		 * considers it as zero and brings up the regulators with minimum supported voltage.
		 * Updating the regulator-min-microvolt with SVS voltage of 725000uV so that
		 * the regulators are brought up with 725000uV which is sufficient for all the
		 * corner parts to operate at 800MHz
		 */
			regulator-min-microvolt = <587500>;
			regulator-max-microvolt = <1075000>;
		};
		ipq9574_s2: s2 {
			regulator-min-microvolt = <700000>;
			regulator-max-microvolt = <1000000>;
		};

		ipq9574_s4: s4 {
			regulator-min-microvolt = <1>;
			regulator-max-microvolt = <9>;
			regulator-always-on;
		};
	};
};

#endif

&tlmm {
	pci0_pin: pci0-default-state {
		pins = "gpio23";
		function = "gpio";
		drive-strength = <8>;
		bias-pull-up;
		output-low;
	};

	pci1_pin: pci1-default-state {
		pins = "gpio26";
		function = "gpio";
		drive-strength = <8>;
		bias-pull-down;
		output-low;
	};

	pci2_pin: pci2-default-state {
		pins = "gpio29";
		function = "gpio";
		drive-strength = <8>;
		bias-pull-down;
		output-low;
	};

	pci3_pin: pci3-default-state {
		pins = "gpio32";
		function = "gpio";
		drive-strength = <8>;
		bias-pull-up;
		output-low;
	};

	i2c_3_pins: i2c-3-pins {
		pins = "gpio15", "gpio16";
		function = "blsp3_i2c";
		drive-strength = <8>;
		bias-disable;
	};

	dpad_pins: button-pins {
		pins = "gpio40", "gpio41", "gpio42", "gpio43", "gpio44";
		function = "gpio";
		drive-strength = <8>;
		bias-disable;
	};

	force_usb_button_pins: force-usb-button-pins {
		pins = "gpio21";
		function = "gpio";
		drive-strength = <8>;
		bias-disable;
	};

	leds_pins: leds-pins {
		pins = "gpio55";
		function = "pwm";
		drive-strength = <8>;
		/*bias-pull-up;*/
	};

	sdc_default_state: sdc-default-state {
		clk-pins {
			pins = "gpio5";
			function = "sdc_clk";
			drive-strength = <8>;
			bias-disable;
		};

		cmd-pins {
			pins = "gpio4";
			function = "sdc_cmd";
			drive-strength = <8>;
			bias-pull-up;
		};

		data-pins {
			pins = "gpio0", "gpio1", "gpio2",
			       "gpio3", "gpio6", "gpio7",
			       "gpio8", "gpio9";
			function = "sdc_data";
			drive-strength = <8>;
			bias-pull-up;
		};

		rclk-pins {
			pins = "gpio10";
			function = "sdc_rclk";
			drive-strength = <8>;
			bias-pull-down;
		};
	};

	spi_0_pins: spi-0-state {
		pins = "gpio11", "gpio12", "gpio13", "gpio14";
		function = "blsp0_spi";
		drive-strength = <8>;
		bias-disable;
	};

	backlight_pins: lcd-backlight-state {
		pins = "gpio46";
		function = "gpio";
		drive-strength = <0x08>;
		bias-disable;
	};

	uart4_pins: uart4-pins {
		pins = "gpio50", "gpio51", "gpio52", "gpio53";
		function = "blsp4_uart";
		drive-strength = <8>;
		bias-disable;
	};

	spi_1_lcd_pins: spi-1-lcd-state {
		spi-pins {
			pins = "gpio61", "gpio64";
			function = "blsp1_spi";
			drive-strength = <8>;
			bias-disable;
		};
 
		gpio-pins {
			pins = "gpio54", "gpio56", "gpio57", "gpio62", "gpio63";
			function = "gpio";
			drive-strength = <8>;
			bias-disable;
		};
	};
};

&usb3 {
	status = "okay";
};

&pwm {
	pinctrl-0 = <&leds_pins>;
	pinctrl-names = "default";
	status = "okay";
};

&xo {
	clock-frequency = <24000000>;
};

#if BROKEN_RPM
/* dat prec ked bude fungovat MP5496 cez RPM */
&cpu_opp_table {
	opp-936000000 {
		opp-microvolt = <1075000>;
	};
 
	opp-1104000000 {
		opp-microvolt = <1075000>;
	};
 
	opp-1200000000 {
		opp-microvolt = <1075000>;
	};
 
	opp-1416000000 {
		opp-microvolt = <1075000>;
	};
 
	opp-1488000000 {
		opp-microvolt = <1075000>;
	};
 
	opp-1800000000 {
		opp-microvolt = <1075000>;
	};
 
	opp-2208000000 {
		opp-microvolt = <1075000>;
	};
};
#endif

#if BROKEN_RPM
&CPU0 {
	cpu-supply = <&dummy_reg_cpu>;
};

&CPU1 {
	cpu-supply = <&dummy_reg_cpu>;
};

&CPU2 {
	cpu-supply = <&dummy_reg_cpu>;
};

&CPU3 {
	cpu-supply = <&dummy_reg_cpu>;
};
#else
&CPU0 {
	cpu-supply = <&apc_vreg>;
};

&CPU1 {
	cpu-supply = <&apc_vreg>;
};

&CPU2 {
	cpu-supply = <&apc_vreg>;
};

&CPU3 {
	cpu-supply = <&apc_vreg>;
};
#endif

&license_manager {
	status = "okay";
};

/* zapnut ked bude MP5496 */
#if !BROKEN_RPM
&apc_apm {
	status = "okay";
};

&apc_cpr {
	vdd-supply = <&ipq9574_s1>;
	status = "okay";
};

&npu_cpr {
	vdd-supply = <&ipq9574_s2>;
	status = "okay";
};

&nss0 {
       npu-supply = <&npu_vreg>;
       mx-supply = <&ipq9574_s4>;
       status = "okay";
};
#endif

&wifi0 {
	/* Enable IPQ9574 integratd 2G Radio */
	qcom,board_id = <0x20>;
	status = "okay";
};

&wifi6 {
	hremote_node = <&qcn9224_pcie2>;
	board_id = <0xc>;
	hw_link_id = <1 0>;
	status = "okay";
};

&qcn9224_pcie2 {
	status = "okay";
};

#if defined(__MHI_BUS_RESERVED_DMA_POOL__)
&mhi_region2 {
	status = "okay";
};
#endif

&mlo_global_mem0 {
	status = "okay";
};

&q6_region {
	status = "okay";
};

&q6v5_wcss {
	status = "okay";
};

&m3_dump {
	status = "okay";
};

&q6_etr_region {
	status = "okay";
};

&q6_caldb_region {
	status = "okay";
};
